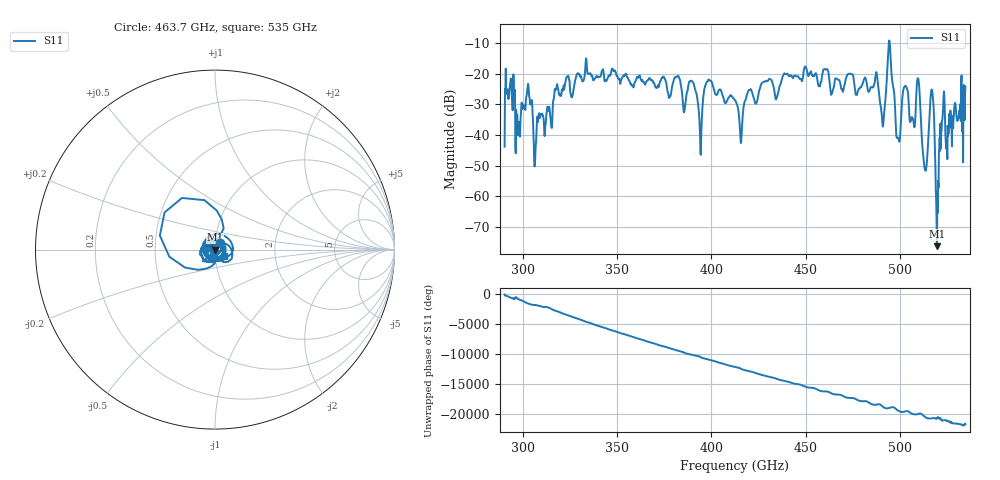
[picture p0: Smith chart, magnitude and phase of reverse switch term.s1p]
!Created with skrf (http://scikit-rf.org).
# GHz S RI R 50.0
!freq ReS11 ImS11
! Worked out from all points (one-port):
!   1201 points, 290 GHz to 535 GHz, reference 50 ohm
!   lowest |S11| = -76.2 dB at 519.9 GHz (marker M1), VSWR 1.00, Z = 50 - j0.0148 ohm
!   |S11| at or under -10 dB: start of sweep to 494.3 GHz; 494.8 GHz to end of sweep
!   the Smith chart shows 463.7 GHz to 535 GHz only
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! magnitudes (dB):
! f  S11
! 290 GHz  -43.8
! 291.8 GHz  -25.1
! 296.9 GHz  -39.1
! 302.7 GHz  -23.6
! 306.5 GHz  -43.6
! 320.6 GHz  -25.0
! 351.2 GHz  -22.3
! 381.9 GHz  -20.7
! 390.2 GHz  -22.8
! 393.9 GHz  -40.3
! 398.4 GHz  -21.9
! 412.5 GHz  -28.6
! 415.6 GHz  -42.6
! 420.1 GHz  -25.3
! 443.1 GHz  -21.2
! 473.8 GHz  -19.9
! 487.6 GHz  -19.5
! 491.1 GHz  -37.2
! 494.8 GHz  -10.0
! 499.3 GHz  -41.0
! 504.4 GHz  -25.8
! 507 GHz  -34.6
! 510.1 GHz  -22.1
! 513.6 GHz  -51.5
! 517.2 GHz  -25.3
! 519.9 GHz  -76.2
! 523 GHz  -33.3
! 535 GHz  -24.1
